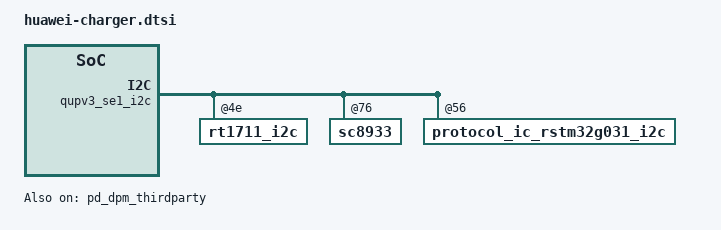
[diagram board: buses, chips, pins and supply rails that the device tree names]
&qupv3_se1_i2c {
	status = "ok";
	rt1711_i2c@4e {
		rt-tcpc,role_def = <3>; /* 0: SNK Only, 1: SRC Only, 2: DRP, 3: Try.SRC, 4: Try.SNK */
		only_charger_stg = <1>;
		status = "ok";
	};

	sc8933@76{
		status = "ok";
	};

	protocol_ic_rstm32g031_i2c@56 {
		status = "ok";
	};
};

&pd_dpm_thirdparty {
	only_charger_stg = <1>;
	status = "ok";
};

&reverse_charge {
	rchg_use_boost = <1>; /*1: use boost; 0: use buck charger */
	rchg_hv_support = <1>; /* 1: support hv rchg */
};

